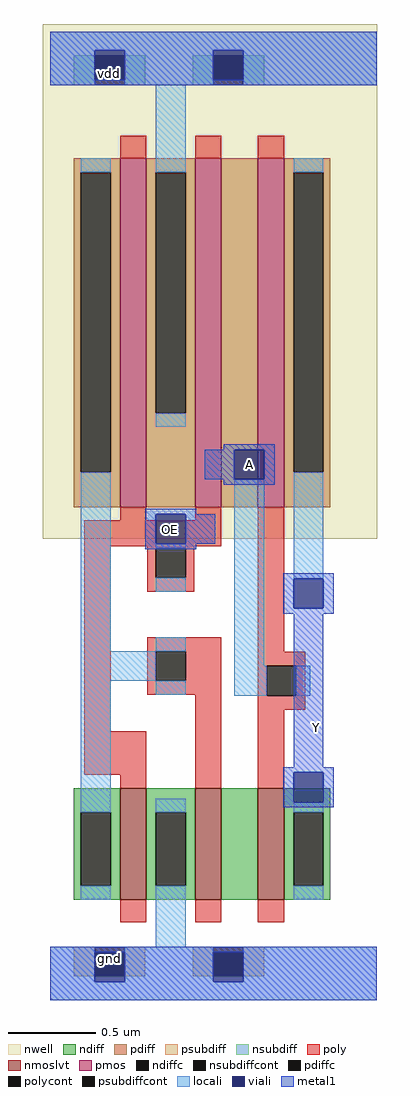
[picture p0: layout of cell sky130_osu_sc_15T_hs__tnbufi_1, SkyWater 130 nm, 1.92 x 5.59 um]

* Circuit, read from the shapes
.subckt sky130_osu_sc_15T_hs__tnbufi_1 Y A OE
XM1 gnd OE n1 gnd sky130_fd_pr__nfet_01v8_lvt w=0.64 l=0.15
XM2 n2 n1 gnd gnd sky130_fd_pr__nfet_01v8_lvt w=0.64 l=0.15
XM3 Y A n2 gnd sky130_fd_pr__nfet_01v8_lvt w=0.64 l=0.15
XM4 vdd OE n1 vdd sky130_fd_pr__pfet_01v8 w=2 l=0.15
XM5 n3 OE vdd vdd sky130_fd_pr__pfet_01v8 w=2 l=0.15
XM6 Y A n3 vdd sky130_fd_pr__pfet_01v8 w=2 l=0.15
.ends

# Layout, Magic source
magic
tech sky130A
magscale 1 2
<< nwell >>
rect -9 529 375 1119
<< nmoslvt >>
rect 80 115 110 243
rect 166 115 196 243
rect 238 115 268 243
<< pmos >>
rect 80 565 110 965
rect 166 565 196 965
rect 238 565 268 965
<< ndiff >>
rect 27 215 80 243
rect 27 131 35 215
rect 69 131 80 215
rect 27 115 80 131
rect 110 215 166 243
rect 110 131 121 215
rect 155 131 166 215
rect 110 115 166 131
rect 196 115 238 243
rect 268 215 321 243
rect 268 131 279 215
rect 313 131 321 215
rect 268 115 321 131
<< pdiff >>
rect 27 949 80 965
rect 27 605 35 949
rect 69 605 80 949
rect 27 565 80 605
rect 110 949 166 965
rect 110 673 121 949
rect 155 673 166 949
rect 110 565 166 673
rect 196 565 238 965
rect 268 949 321 965
rect 268 605 279 949
rect 313 605 321 949
rect 268 565 321 605
<< ndiffc >>
rect 35 131 69 215
rect 121 131 155 215
rect 279 131 313 215
<< pdiffc >>
rect 35 605 69 949
rect 121 673 155 949
rect 279 605 313 949
<< psubdiff >>
rect 27 27 51 61
rect 85 27 109 61
rect 163 27 187 61
rect 221 27 245 61
<< nsubdiff >>
rect 27 1049 51 1083
rect 85 1049 109 1083
rect 163 1049 187 1083
rect 221 1049 245 1083
<< psubdiffcont >>
rect 51 27 85 61
rect 187 27 221 61
<< nsubdiffcont >>
rect 51 1049 85 1083
rect 187 1049 221 1083
<< poly >>
rect 80 965 110 991
rect 166 965 196 991
rect 238 965 268 991
rect 80 550 110 565
rect 166 550 196 565
rect 39 520 196 550
rect 39 308 69 520
rect 111 518 165 520
rect 111 484 121 518
rect 155 484 165 518
rect 111 468 165 484
rect 111 400 196 416
rect 111 366 121 400
rect 155 366 196 400
rect 111 350 196 366
rect 39 258 110 308
rect 80 243 110 258
rect 166 243 196 350
rect 238 399 268 565
rect 238 383 292 399
rect 238 349 248 383
rect 282 349 292 383
rect 238 333 292 349
rect 238 243 268 333
rect 80 89 110 115
rect 166 89 196 115
rect 238 89 268 115
<< polycont >>
rect 121 484 155 518
rect 121 366 155 400
rect 248 349 282 383
<< locali >>
rect 0 1089 374 1110
rect 0 1049 51 1089
rect 85 1049 187 1089
rect 221 1049 374 1089
rect 35 949 69 965
rect 121 949 155 1049
rect 121 657 155 673
rect 279 949 313 965
rect 35 400 69 605
rect 121 518 155 523
rect 121 468 155 484
rect 121 400 155 416
rect 35 366 121 400
rect 35 215 69 366
rect 121 350 155 366
rect 211 383 245 597
rect 279 483 313 605
rect 211 349 248 383
rect 282 349 298 383
rect 35 115 69 131
rect 121 215 155 231
rect 121 61 155 131
rect 279 215 313 227
rect 279 115 313 131
rect 0 21 51 61
rect 85 21 187 61
rect 221 21 374 61
rect 0 0 374 21
<< viali >>
rect 51 1083 85 1089
rect 51 1055 85 1083
rect 187 1083 221 1089
rect 187 1055 221 1083
rect 211 597 245 631
rect 121 523 155 557
rect 279 449 313 483
rect 279 227 313 261
rect 51 27 85 55
rect 51 21 85 27
rect 187 27 221 55
rect 187 21 221 27
<< metal1 >>
rect 0 1089 374 1110
rect 0 1055 51 1089
rect 85 1055 187 1089
rect 221 1055 374 1089
rect 0 1049 374 1055
rect 199 631 257 637
rect 177 597 211 631
rect 245 597 257 631
rect 199 591 257 597
rect 109 557 167 563
rect 109 523 121 557
rect 155 523 189 557
rect 109 517 167 523
rect 267 483 325 489
rect 267 449 279 483
rect 313 449 325 483
rect 267 443 325 449
rect 279 267 313 443
rect 267 261 325 267
rect 267 227 279 261
rect 313 227 325 261
rect 267 221 325 227
rect 0 55 374 61
rect 0 21 51 55
rect 85 21 187 55
rect 221 21 374 55
rect 0 0 374 21
<< labels >>
rlabel metal1 305 312 305 312 1 Y
port 1 n
rlabel viali 228 614 228 614 1 A
port 2 n
rlabel viali 138 540 138 540 1 OE
port 3 n
rlabel viali 68 48 68 48 1 gnd
rlabel viali 68 1062 68 1062 1 vdd
<< end >>
